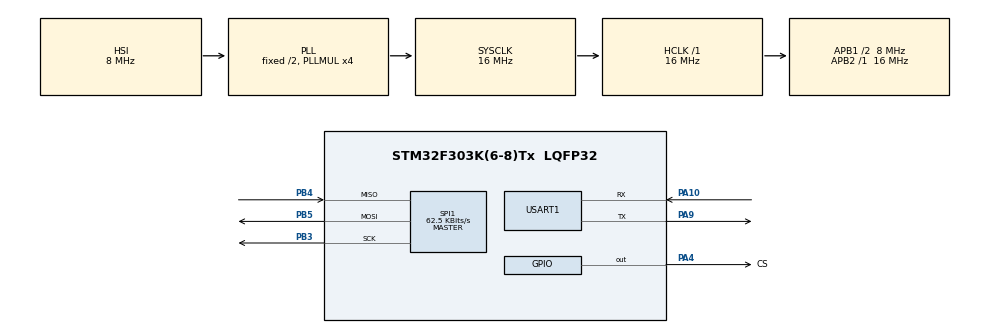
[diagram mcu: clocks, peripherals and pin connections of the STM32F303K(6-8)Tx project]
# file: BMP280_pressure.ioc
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Mcu.Family=STM32F3
RCC.CortexFreq_Value=16000000
PA10.Mode=Asynchronous
SPI1.VirtualType=VM_MASTER
RCC.SYSCLKSourceVirtual=RCC_SYSCLKSOURCE_PLLCLK
SPI1.CLKPhase=SPI_PHASE_2EDGE
RCC.APB1CLKDivider=RCC_HCLK_DIV2
ProjectManager.StackSize=0x400
USART1.VirtualMode-Asynchronous=VM_ASYNC
PA9.Mode=Asynchronous
SPI1.CLKPolarity=SPI_POLARITY_HIGH
PB4.GPIO_Mode=GPIO_MODE_AF_PP
ProjectManager.TargetToolchain=STM32CubeIDE
SPI1.Direction=SPI_DIRECTION_2LINES
RCC.HCLKFreq_Value=16000000
RCC.APB2TimFreq_Value=16000000
PA9.Signal=USART1_TX
SPI1.CalculateBaudRate=62.5 KBits/s
RCC.AHBFreq_Value=16000000
RCC.HSE_VALUE=8000000
PB3.Mode=Full_Duplex_Master
board=custom
RCC.PLLMUL=RCC_PLL_MUL4
NVIC.SPI1_IRQn=true\:0\:0\:false\:false\:true\:true\:true
RCC.APB2Freq_Value=16000000
PB4.Mode=Full_Duplex_Master
SPI1.Mode=SPI_MODE_MASTER
PB5.Mode=Full_Duplex_Master
SPI1.DataSize=SPI_DATASIZE_8BIT
SPI1.FirstBit=SPI_FIRSTBIT_MSB
PB3.GPIO_Mode=GPIO_MODE_AF_PP
Mcu.Name=STM32F303K(6-8)Tx
PB3.Signal=SPI1_SCK
PA4.Signal=GPIO_Output
RCC.SYSCLKFreq_VALUE=16000000
Mcu.Package=LQFP32
PB5.Signal=SPI1_MOSI
PA10.Signal=USART1_RX
ProjectManager.HeapSize=0x200
RCC.HSI_VALUE=8000000
NVIC.PriorityGroup=NVIC_PRIORITYGROUP_4
RCC.APB1TimFreq_Value=16000000
RCC.APB1Freq_Value=8000000
SPI1.BaudRatePrescaler=SPI_BAUDRATEPRESCALER_256
PA4.GPIO_Label=CS
PB4.Signal=SPI1_MISO
PB5.GPIO_Mode=GPIO_MODE_AF_PP

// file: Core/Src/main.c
/* USER CODE BEGIN Header */
/**
  ******************************************************************************
  * @file           : main.c
  * @brief          : Main program body
  ******************************************************************************
  * @attention
  *
  * <h2><center>&copy; Copyright (c) 2021 STMicroelectronics.
  * All rights reserved.</center></h2>
  *
  * This software component is licensed by ST under BSD 3-Clause license,
  * the "License"; You may not use this file except in compliance with the
  * License. You may obtain a copy of the License at:
  *                        opensource.org/licenses/BSD-3-Clause
  *
  ******************************************************************************
  */
/* USER CODE END Header */
#include "main.h"
#include "spi.h"
#include "usart.h"
#include "gpio.h"

/* USER CODE BEGIN PD */

uint8_t BMP280_REG_TEMP_XLSB   =0xFC; /* bits: 7-4 */
uint8_t BMP280_REG_TEMP_LSB    =0xFB;
uint8_t BMP280_REG_TEMP_MSB    =0xFA;
uint8_t BMP280_REG_PRESS_XLSB  =0xF9 ;/* bits: 7-4 */
uint8_t BMP280_REG_PRESS_LSB   =0xF8;
uint8_t BMP280_REG_PRESS_MSB   =0xF7;
uint8_t BMP280_REG_CONFIG      =0xF5 ;/* bits: 7-5 t_sb; 4-2 filter; 0 spi3w_en */
uint8_t BMP280_REG_CTRL        =0xF4 ;/* bits: 7-5 osrs_t; 4-2 osrs_p; 1-0 mode */
uint8_t BMP280_REG_STATUS      =0xF3 ;/* bits: 3 measuring; 0 im_update */
uint8_t BMP280_REG_CTRL_HUM    =0xF2 ;/* bits: 2-0 osrs_h; */
uint8_t BMP280_REG_RESET       =0xE0;
uint8_t BMP280_REG_ID          =0xD0;
uint8_t BMP280_REG_CALIB       =0x88;
uint8_t BMP280_REG_HUM_CALIB   =0x88;

#define BMP280_RESET_VALUE     0xB6

/* USER CODE END PD */

void SystemClock_Config(void);

/* USER CODE BEGIN 0 */
int _write(int file , char *ptr , int len){
  HAL_UART_Transmit(&huart1 , ptr , len , 50);
  return len;
}
uint8_t reg_T1l=0x88;
uint8_t reg_T2l=0x8A;
uint8_t reg_T3l=0x8C;
uint8_t reg_P1l=0x8E;
uint8_t reg_P2l=0x90;
uint8_t reg_P3l=0x92;
uint8_t reg_P4l=0x94;
uint8_t reg_P5l=0x96;
uint8_t reg_P6l=0x98;
uint8_t reg_P7l=0x9A;
uint8_t reg_P8l=0x9C;
uint8_t reg_P9l=0x9E;

uint8_t reg_T1m=0x89;
uint8_t reg_T2m=0x8B;
uint8_t reg_T3m=0x8D;
uint8_t reg_P1m=0x8F;
uint8_t reg_P2m=0x91;
uint8_t reg_P3m=0x93;
uint8_t reg_P4m=0x95;
uint8_t reg_P5m=0x97;
uint8_t reg_P6m=0x99;
uint8_t reg_P7m=0x9B;
uint8_t reg_P8m=0x9D;
uint8_t reg_P9m=0x9F;

uint8_t dig_T12[2];
int8_t  dig_T22[2];
int8_t  dig_T32[2];
uint8_t dig_P12[2];
int8_t  dig_P22[2];
int8_t  dig_P32[2];
int8_t  dig_P42[2];
int8_t  dig_P52[2];
int8_t  dig_P62[2];
int8_t  dig_P72[2];
int8_t  dig_P82[2];
int8_t  dig_P92[2];

uint16_t dig_T1;
int16_t  dig_T2;
int16_t  dig_T3;
uint16_t dig_P1;
int16_t  dig_P2;
int16_t  dig_P3;
int16_t  dig_P4;
int16_t  dig_P5;
int16_t  dig_P6;
int16_t  dig_P7;
int16_t  dig_P8;
int16_t  dig_P9;

uint16_t addr;

static int read_data( uint8_t addr, uint8_t * value , uint8_t len) {
	uint8_t rx_buff[2];

	HAL_GPIO_WritePin(CS_GPIO_Port, CS_Pin, RESET);

	HAL_SPI_TransmitReceive(&hspi1, addr, value, len, 100);

	HAL_GPIO_WritePin(CS_GPIO_Port, CS_Pin, SET);

	return 1;
}

void setConstants(){
	  // DIG_Tx/Px

	  HAL_GPIO_WritePin(CS_GPIO_Port, CS_Pin, RESET);
	  HAL_SPI_Transmit(&hspi1, &reg_T1l, 1, 100);
	  HAL_SPI_Receive(&hspi1, &dig_T12, 2, 100);
	  HAL_GPIO_WritePin(CS_GPIO_Port, CS_Pin, SET);

	  HAL_GPIO_WritePin(CS_GPIO_Port, CS_Pin, RESET);
	  HAL_SPI_Transmit(&hspi1, &reg_T2l, 1, 100);
	  HAL_SPI_Receive(&hspi1, &dig_T22, 2, 100);
	  HAL_GPIO_WritePin(CS_GPIO_Port, CS_Pin, SET);

	  HAL_GPIO_WritePin(CS_GPIO_Port, CS_Pin, RESET);
	  HAL_SPI_Transmit(&hspi1, &reg_T3l, 1, 100);
	  HAL_SPI_Receive(&hspi1, &dig_T32, 2, 100);
	  HAL_GPIO_WritePin(CS_GPIO_Port, CS_Pin, SET);

	  HAL_GPIO_WritePin(CS_GPIO_Port, CS_Pin, RESET);
	  HAL_SPI_Transmit(&hspi1, &reg_P1l, 1, 100);
	  HAL_SPI_Receive(&hspi1, &dig_P12, 2, 100);
	  HAL_GPIO_WritePin(CS_GPIO_Port, CS_Pin, SET);

	  HAL_GPIO_WritePin(CS_GPIO_Port, CS_Pin, RESET);
	  HAL_SPI_Transmit(&hspi1, &reg_P2l, 1, 100);
	  HAL_SPI_Receive(&hspi1, &dig_P22, 2, 100);
	  HAL_GPIO_WritePin(CS_GPIO_Port, CS_Pin, SET);

	  HAL_GPIO_WritePin(CS_GPIO_Port, CS_Pin, RESET);
	  HAL_SPI_Transmit(&hspi1, &reg_P3l, 1, 100);
	  HAL_SPI_Receive(&hspi1, &dig_P32, 2, 100);
	  HAL_GPIO_WritePin(CS_GPIO_Port, CS_Pin, SET);

	  HAL_GPIO_WritePin(CS_GPIO_Port, CS_Pin, RESET);
	  HAL_SPI_Transmit(&hspi1, &reg_P4l, 1, 100);
	  HAL_SPI_Receive(&hspi1, &dig_P42, 2, 100);
	  HAL_GPIO_WritePin(CS_GPIO_Port, CS_Pin, SET);

	  HAL_GPIO_WritePin(CS_GPIO_Port, CS_Pin, RESET);
	  HAL_SPI_Transmit(&hspi1, &reg_P5l, 1, 100);
	  HAL_SPI_Receive(&hspi1, &dig_P52, 2, 100);
	  HAL_GPIO_WritePin(CS_GPIO_Port, CS_Pin, SET);

	  HAL_GPIO_WritePin(CS_GPIO_Port, CS_Pin, RESET);
	  HAL_SPI_Transmit(&hspi1, &reg_P6l, 1, 100);
	  HAL_SPI_Receive(&hspi1, &dig_P62, 2, 100);
	  HAL_GPIO_WritePin(CS_GPIO_Port, CS_Pin, SET);

	  HAL_GPIO_WritePin(CS_GPIO_Port, CS_Pin, RESET);
	  HAL_SPI_Transmit(&hspi1, &reg_P7l, 1, 100);
	  HAL_SPI_Receive(&hspi1, &dig_P72, 2, 100);
	  HAL_GPIO_WritePin(CS_GPIO_Port, CS_Pin, SET);

	  HAL_GPIO_WritePin(CS_GPIO_Port, CS_Pin, RESET);
	  HAL_SPI_Transmit(&hspi1, &reg_P8l, 1, 100);
	  HAL_SPI_Receive(&hspi1, &dig_P82, 2, 100);
	  HAL_GPIO_WritePin(CS_GPIO_Port, CS_Pin, SET);

	  HAL_GPIO_WritePin(CS_GPIO_Port, CS_Pin, RESET);
	  HAL_SPI_Transmit(&hspi1, &reg_P9l, 1, 100);
	  HAL_SPI_Receive(&hspi1, &dig_P92, 2, 100);
	  HAL_GPIO_WritePin(CS_GPIO_Port, CS_Pin, SET);

	  dig_T1 = dig_T12[0] | (dig_T12[1]<<8);
	  dig_T2 = dig_T22[0] | (dig_T22[1]<<8);
	  dig_T3 = dig_T32[0] | (dig_T32[1]<<8);
	  dig_P1 = dig_P12[0] | (dig_P12[1]<<8);
	  dig_P2 = dig_P22[0] | (dig_P22[1]<<8);
	  dig_P3 = dig_P32[0] | (dig_P32[1]<<8);
	  dig_P4 = dig_P42[0] | (dig_P42[1]<<8);
	  dig_P5 = dig_P52[0] | (dig_P52[1]<<8);
	  dig_P6 = dig_P62[0] | (dig_P62[1]<<8);
	  dig_P7 = dig_P72[0] | (dig_P72[1]<<8);
	  dig_P8 = dig_P82[0] | (dig_P82[1]<<8);
	  dig_P9 = dig_P92[0] | (dig_P92[1]<<8);
}

/* USER CODE END 0 */

int main(void)
{

  /* MCU Configuration--------------------------------------------------------*/

  /* Reset of all peripherals, Initializes the Flash interface and the Systick. */
  HAL_Init();

  /* Configure the system clock */
  SystemClock_Config();

  /* Initialize all configured peripherals */
  MX_GPIO_Init();
  MX_SPI1_Init();
  MX_USART1_UART_Init();
  /* USER CODE BEGIN 2 */
  HAL_SPI_Init(&hspi1);

  /* USER CODE END 2 */

  /* Infinite loop */
  /* USER CODE BEGIN WHILE */

  uint8_t P[3];
  uint32_t PP=0;

  uint8_t T[3];
  uint32_t TT=0;

  uint8_t ID=19;
  uint8_t ID2=0xD0;

  int i=0;
  HAL_GPIO_WritePin(CS_GPIO_Port, CS_Pin, SET);

  uint8_t write_F4=0x74;
  uint8_t overwrite_F4=0xFF;

  uint8_t read_F4=0xF4;
  uint8_t czytaj=0;

  int var1;
  int var2;
  int Var1;
  int Var2;

  int32_t t_fine=0;
  int32_t temp=0;
  int32_t cis=0;

  setConstants();

  while (1)
  {
	  // MODE
	  HAL_GPIO_WritePin(CS_GPIO_Port, CS_Pin, RESET);

	  HAL_SPI_Transmit(&hspi1, &read_F4, 1, HAL_MAX_DELAY);
	  HAL_SPI_Receive(&hspi1, &czytaj, 1, HAL_MAX_DELAY);

	  HAL_GPIO_WritePin(CS_GPIO_Port, CS_Pin, SET);

	  HAL_GPIO_WritePin(CS_GPIO_Port, CS_Pin, RESET);

	  HAL_SPI_Transmit(&hspi1, &write_F4, 1, 200);
	  HAL_SPI_Transmit(&hspi1, &overwrite_F4, 1, 200);

	  HAL_GPIO_WritePin(CS_GPIO_Port, CS_Pin, SET);

	  // ID
	  HAL_GPIO_WritePin(CS_GPIO_Port, CS_Pin, RESET);

	  HAL_SPI_Transmit(&hspi1, &ID2, 1, HAL_MAX_DELAY);
	  HAL_SPI_Receive(&hspi1, &ID, 1, HAL_MAX_DELAY);

	  HAL_GPIO_WritePin(CS_GPIO_Port, CS_Pin, SET);

	  // Ciśnienie
	  HAL_GPIO_WritePin(CS_GPIO_Port, CS_Pin, RESET);

	  HAL_SPI_Transmit(&hspi1, &BMP280_REG_PRESS_MSB, 1, 100);
	  HAL_SPI_Receive(&hspi1, &P[0], 1, 100);
	  HAL_SPI_Transmit(&hspi1, &BMP280_REG_PRESS_LSB, 1, 100);
	  HAL_SPI_Receive(&hspi1, &P[1], 1, 100);
	  HAL_SPI_Transmit(&hspi1, &BMP280_REG_PRESS_XLSB, 1, 100);
	  HAL_SPI_Receive(&hspi1, &P[2], 1, 100);

	  HAL_GPIO_WritePin(CS_GPIO_Port, CS_Pin, SET);

	  // Temperatura
	  HAL_GPIO_WritePin(CS_GPIO_Port, CS_Pin, RESET);

	  HAL_SPI_Transmit(&hspi1, &BMP280_REG_TEMP_MSB, 1, 100);
	  HAL_SPI_Receive(&hspi1, &T[0], 1, 100);
	  HAL_SPI_Transmit(&hspi1, &BMP280_REG_TEMP_LSB, 1, 100);
	  HAL_SPI_Receive(&hspi1, &T[1], 1, 100);
	  HAL_SPI_Transmit(&hspi1, &BMP280_REG_TEMP_XLSB, 1, 100);
	  HAL_SPI_Receive(&hspi1, &T[2], 1, 100);

	  HAL_GPIO_WritePin(CS_GPIO_Port, CS_Pin, SET);

////////////////////////////////////////////////////////////////////////////////

	  PP = ( P[0] << 12 | P[1] << 4 | (P[2]>>4) );
	  TT = ( T[0] << 12 | T[1] << 4 | (T[2]>>4) );

	  HAL_Delay(400);

//	   TEMP
//	  var1 = (((double)PP)/16384.0 - ((double)dig_T1)/1024.0)*((double)dig_T2);
//	  printf(" Test: %d \r\n", var1);
//	  var2 = ((((double)PP)/131072.0 - ((double)dig_T1)/8192.0)*(((double)PP)/131072.0 - ((double)dig_T1)/8192.0))*((double)dig_T3);
//	  t_fine = var1+var2;
//	  temp = t_fine/5120.0;

	  var1 = (((TT>>3)-((int32_t)dig_T1<<1)) *((int32_t)dig_T2))>>11;
	  var2 = (((((TT>>4) - ((int32_t)dig_T1))*((TT>>4)-((int32_t)dig_T1))) >> 12)*(int32_t)dig_T3)>>14;
	  t_fine = var1+var2;
	  temp = (t_fine*5 + 128) >> 8;
	  temp = temp / 100;

	  // PRESS
//	  Var1 = ((double)t_fine/2.0)-64000.0;
//	  Var2=Var1*Var1*((double)dig_P6)/32768.0;
//	  Var2=Var2+Var1*((double)dig_P5)*2.0;
//	  Var2=Var2/4.0 + (((double)dig_P4)*65536.0);
//	  Var1 = (      ( (double)dig_P3   )  *  Var1*Var1/524288.0+((double)dig_P2)*Var1)/524288.0;
//	  Var1 = (1.0+Var1/32768.0)*((double)dig_P1);
//	  cis=1048576.0 - (double)PP;
//	  cis = (cis-(Var2/4096.0))*6250.0/Var1;
//	  Var1=((double)dig_P9)*cis*cis/2147483648.0;
//	  Var2=cis*((double)dig_P8)/32768.0;
//	  cis = cis + (Var1+Var2+((double)dig_P7))/16.0;
//	  cis = cis/100.0;

	  Var1 = ((int32_t)t_fine>>1) - (int32_t)64000;
	  Var2 = (((Var1>>2) * (Var1>>2)) >> 11 ) * ((int32_t)dig_P6);
	  Var2 = Var2 + ((Var1*((int32_t)dig_P5))<<1);
	  Var2 = (Var2>>2)+(((int32_t)dig_P4)<<16);
	  Var1 = (((dig_P3 * (((Var1>>2) * (Var1>>2)) >> 13 )) >> 3) + ((((int32_t)dig_P2) * Var1)>>1))>>18;
	  Var1 =((((32768+Var1))*((int32_t)dig_P1))>>15);
	  printf(" TEST: %d \r\n", Var1);
	  if (Var1 == 0){
		  return 0; // avoid exception caused by division by zero
	  }
	  cis = (((uint32_t)(      ((int32_t)1048576)-PP)-(Var2>>12)))*3125;
	  if (cis < 0x80000000) {
		  cis = (cis << 1) / ((uint32_t)Var1);
	  }
	  else{
		  cis = (cis / (uint32_t)Var1) * 2;
	  }
//	  cis = 1048576.0 - (double)PP;
//	  cis = (cis - (Var2/4096.0)) * 6250.0 / Var1;
	  Var1 = (((int32_t)dig_P9) * ((int32_t)(((cis>>3) * (cis>>3))>>13)))>>12;
	  Var2 = (((int32_t)(cis>>2)) * ((int32_t)dig_P8))>>13;
	  cis = (uint32_t)((int32_t)cis + ((Var1 + Var2 + dig_P7) >> 4));
	  cis = cis/100;

	  printf("%d  ID : %d \r\n", i++ , ID );
	  if( i==1000 ) i=0;

	  printf(" P: ( %d , %d , %d ) \r\n", P[0] , P[1] , P[2] );
	  printf(" T: ( %d , %d , %d ) \r\n", T[0] , T[1] , T[2] );

	  printf(" CISNIENIE : %d hPa \r\n", PP );
	  printf(" TEMPERATURA: %d *C \r\n", TT );
//	  printf(" Register read: %d \r\n", dig_T1);

	  printf(" temp: %d *C \r\n", temp );
	  printf(" cis: %d hPa \r\n", cis );

	  printf(" czytaj mode : %d \r\n", czytaj);
	  printf("\r\n" );

    /* USER CODE END WHILE */

  }
}

void SystemClock_Config(void)
{
  RCC_OscInitTypeDef RCC_OscInitStruct = {0};
  RCC_ClkInitTypeDef RCC_ClkInitStruct = {0};
  RCC_PeriphCLKInitTypeDef PeriphClkInit = {0};

  /** Initializes the RCC Oscillators according to the specified parameters
  * in the RCC_OscInitTypeDef structure.
  */
  RCC_OscInitStruct.OscillatorType = RCC_OSCILLATORTYPE_HSI;
  RCC_OscInitStruct.HSIState = RCC_HSI_ON;
  RCC_OscInitStruct.HSICalibrationValue = RCC_HSICALIBRATION_DEFAULT;
  RCC_OscInitStruct.PLL.PLLState = RCC_PLL_ON;
  RCC_OscInitStruct.PLL.PLLSource = RCC_PLLSOURCE_HSI;
  RCC_OscInitStruct.PLL.PLLMUL = RCC_PLL_MUL4;
  if (HAL_RCC_OscConfig(&RCC_OscInitStruct) != HAL_OK)
  {
    Error_Handler();
  }
  /** Initializes the CPU, AHB and APB buses clocks
  */
  RCC_ClkInitStruct.ClockType = RCC_CLOCKTYPE_HCLK|RCC_CLOCKTYPE_SYSCLK
                              |RCC_CLOCKTYPE_PCLK1|RCC_CLOCKTYPE_PCLK2;
  RCC_ClkInitStruct.SYSCLKSource = RCC_SYSCLKSOURCE_PLLCLK;
  RCC_ClkInitStruct.AHBCLKDivider = RCC_SYSCLK_DIV1;
  RCC_ClkInitStruct.APB1CLKDivider = RCC_HCLK_DIV2;
  RCC_ClkInitStruct.APB2CLKDivider = RCC_HCLK_DIV1;

  if (HAL_RCC_ClockConfig(&RCC_ClkInitStruct, FLASH_LATENCY_0) != HAL_OK)
  {
    Error_Handler();
  }
  PeriphClkInit.PeriphClockSelection = RCC_PERIPHCLK_USART1;
  PeriphClkInit.Usart1ClockSelection = RCC_USART1CLKSOURCE_PCLK1;
  if (HAL_RCCEx_PeriphCLKConfig(&PeriphClkInit) != HAL_OK)
  {
    Error_Handler();
  }
}

void Error_Handler(void)
{
  __disable_irq();
  while (1)
  {
  }
}

/************************ (C) COPYRIGHT STMicroelectronics *****END OF FILE****/
